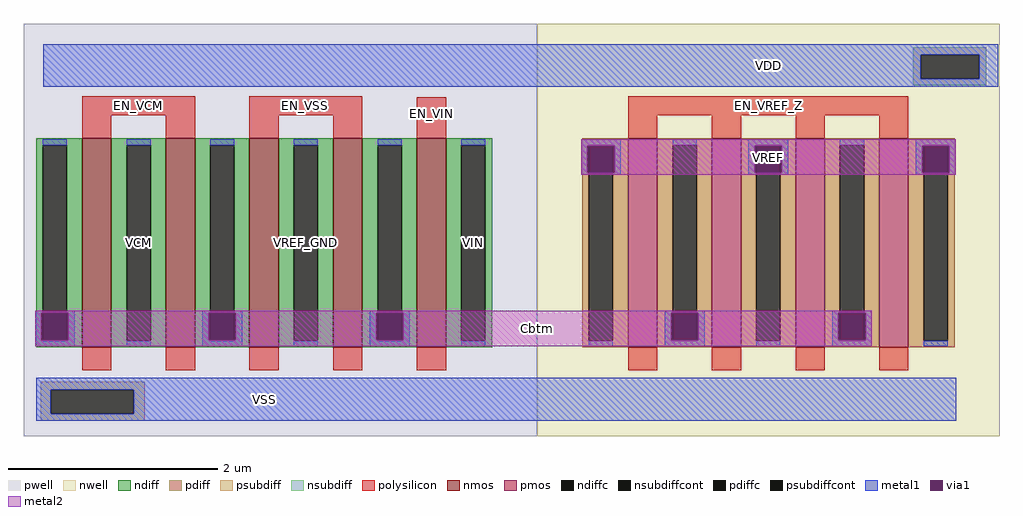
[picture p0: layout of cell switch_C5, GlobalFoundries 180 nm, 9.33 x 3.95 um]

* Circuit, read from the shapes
.subckt switch_C5 VCM VREF_GND VIN VREF EN_VCM EN_VREF_Z Cbtm VDD EN_VSS EN_VIN VSS
XM1 VCM EN_VCM Cbtm VSS nfet_03v3 w=2u l=0.28u m=2
XM2 VREF_GND EN_VSS Cbtm VSS nfet_03v3 w=2u l=0.28u m=2
XM3 VIN EN_VIN Cbtm VSS nfet_03v3 w=2u l=0.28u
XM4 Cbtm EN_VREF_Z VREF VDD pfet_03v3 w=2u l=0.28u m=4
.ends

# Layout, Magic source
magic
tech gf180mcuD
magscale 1 10
<< nwell >>
rect 1290 -346 2174 443
<< pwell >>
rect 308 -346 1290 443
<< nmos >>
rect 420 -176 476 224
rect 580 -176 636 224
rect 740 -176 796 224
rect 900 -176 956 224
rect 1060 -176 1116 224
<< pmos >>
rect 1464 -176 1520 224
rect 1624 -176 1680 224
rect 1784 -176 1840 224
rect 1944 -176 2000 224
<< ndiff >>
rect 332 211 420 224
rect 332 -163 345 211
rect 391 -163 420 211
rect 332 -176 420 -163
rect 476 211 580 224
rect 476 -163 505 211
rect 551 -163 580 211
rect 476 -176 580 -163
rect 636 211 740 224
rect 636 -163 665 211
rect 711 -163 740 211
rect 636 -176 740 -163
rect 796 211 900 224
rect 796 -163 825 211
rect 871 -163 900 211
rect 796 -176 900 -163
rect 956 211 1060 224
rect 956 -163 985 211
rect 1031 -163 1060 211
rect 956 -176 1060 -163
rect 1116 211 1204 224
rect 1116 -163 1145 211
rect 1191 -163 1204 211
rect 1116 -176 1204 -163
<< pdiff >>
rect 1376 211 1464 224
rect 1376 -163 1389 211
rect 1435 -163 1464 211
rect 1376 -176 1464 -163
rect 1520 211 1624 224
rect 1520 -163 1549 211
rect 1595 -163 1624 211
rect 1520 -176 1624 -163
rect 1680 211 1784 224
rect 1680 -163 1709 211
rect 1755 -163 1784 211
rect 1680 -176 1784 -163
rect 1840 211 1944 224
rect 1840 -163 1869 211
rect 1915 -163 1944 211
rect 1840 -176 1944 -163
rect 2000 211 2088 224
rect 2000 -163 2029 211
rect 2075 -163 2088 211
rect 2000 -176 2088 -163
<< ndiffc >>
rect 345 -163 391 211
rect 505 -163 551 211
rect 665 -163 711 211
rect 825 -163 871 211
rect 985 -163 1031 211
rect 1145 -163 1191 211
<< pdiffc >>
rect 1389 -163 1435 211
rect 1549 -163 1595 211
rect 1709 -163 1755 211
rect 1869 -163 1915 211
rect 2029 -163 2075 211
<< psubdiff >>
rect 341 -257 540 -242
rect 341 -303 360 -257
rect 519 -303 540 -257
rect 341 -316 540 -303
<< nsubdiff >>
rect 2009 384 2149 398
rect 2009 338 2023 384
rect 2135 338 2149 384
rect 2009 325 2149 338
<< psubdiffcont >>
rect 360 -303 519 -257
<< nsubdiffcont >>
rect 2023 338 2135 384
<< polysilicon >>
rect 420 268 636 304
rect 420 224 476 268
rect 580 224 636 268
rect 740 268 956 304
rect 740 224 796 268
rect 900 224 956 268
rect 1060 224 1116 302
rect 1464 268 2000 304
rect 1464 224 1520 268
rect 1624 224 1680 268
rect 1784 224 1840 268
rect 1944 224 2000 268
rect 420 -220 476 -176
rect 580 -220 636 -176
rect 740 -220 796 -176
rect 900 -220 956 -176
rect 1060 -220 1116 -176
rect 1464 -220 1520 -176
rect 1624 -220 1680 -176
rect 1784 -220 1840 -176
rect 1944 -220 2000 -176
<< metal1 >>
rect 346 384 2172 404
rect 346 338 2023 384
rect 2135 338 2172 384
rect 346 322 2172 338
rect 345 211 391 222
rect 330 -110 345 -106
rect 505 211 551 222
rect 391 -110 406 -106
rect 330 -162 342 -110
rect 394 -162 406 -110
rect 330 -163 345 -162
rect 391 -163 406 -162
rect 330 -174 406 -163
rect 665 211 711 222
rect 505 -174 551 -163
rect 650 -110 665 -106
rect 825 211 871 222
rect 711 -110 726 -106
rect 650 -162 662 -110
rect 714 -162 726 -110
rect 650 -163 665 -162
rect 711 -163 726 -162
rect 650 -174 726 -163
rect 985 211 1031 222
rect 825 -174 871 -163
rect 970 -110 985 -106
rect 1145 211 1191 222
rect 1031 -110 1046 -106
rect 970 -162 982 -110
rect 1034 -162 1046 -110
rect 970 -163 985 -162
rect 1031 -163 1046 -162
rect 970 -174 1046 -163
rect 1374 211 1450 222
rect 1374 210 1389 211
rect 1435 210 1450 211
rect 1374 158 1386 210
rect 1438 158 1450 210
rect 1374 154 1389 158
rect 1145 -174 1191 -163
rect 1435 154 1450 158
rect 1549 211 1595 222
rect 1389 -174 1435 -163
rect 1534 -110 1549 -106
rect 1694 211 1770 222
rect 1694 210 1709 211
rect 1755 210 1770 211
rect 1694 158 1706 210
rect 1758 158 1770 210
rect 1694 154 1709 158
rect 1595 -110 1610 -106
rect 1534 -162 1546 -110
rect 1598 -162 1610 -110
rect 1534 -163 1549 -162
rect 1595 -163 1610 -162
rect 1534 -174 1610 -163
rect 1755 154 1770 158
rect 1869 211 1915 222
rect 1709 -174 1755 -163
rect 1854 -110 1869 -106
rect 2014 211 2090 222
rect 2014 210 2029 211
rect 2075 210 2090 211
rect 2014 158 2026 210
rect 2078 158 2090 210
rect 2014 154 2029 158
rect 1915 -110 1930 -106
rect 1854 -162 1866 -110
rect 1918 -162 1930 -110
rect 1854 -163 1869 -162
rect 1915 -163 1930 -162
rect 1854 -174 1930 -163
rect 2075 154 2090 158
rect 2029 -174 2075 -163
rect 332 -257 2091 -234
rect 332 -303 360 -257
rect 519 -303 2091 -257
rect 332 -316 2091 -303
<< via1 >>
rect 342 -162 345 -110
rect 345 -162 391 -110
rect 391 -162 394 -110
rect 662 -162 665 -110
rect 665 -162 711 -110
rect 711 -162 714 -110
rect 982 -162 985 -110
rect 985 -162 1031 -110
rect 1031 -162 1034 -110
rect 1386 158 1389 210
rect 1389 158 1435 210
rect 1435 158 1438 210
rect 1706 158 1709 210
rect 1709 158 1755 210
rect 1755 158 1758 210
rect 1546 -162 1549 -110
rect 1549 -162 1595 -110
rect 1595 -162 1598 -110
rect 2026 158 2029 210
rect 2029 158 2075 210
rect 2075 158 2078 210
rect 1866 -162 1869 -110
rect 1869 -162 1915 -110
rect 1915 -162 1918 -110
<< metal2 >>
rect 1374 210 2090 222
rect 1374 158 1386 210
rect 1438 158 1706 210
rect 1758 158 2026 210
rect 2078 158 2090 210
rect 1374 154 2090 158
rect 330 -110 1930 -106
rect 330 -162 342 -110
rect 394 -162 662 -110
rect 714 -162 982 -110
rect 1034 -162 1546 -110
rect 1598 -162 1866 -110
rect 1918 -162 1930 -110
rect 330 -174 1930 -162
<< labels >>
flabel polysilicon 1060 242 1116 302 1 FreeSans 320 0 0 0 EN_VIN
port 10 n
flabel polysilicon 1464 268 2000 304 1 FreeSans 320 0 0 0 EN_VREF_Z
port 6 n
flabel metal2 1034 -174 1546 -106 1 FreeSans 400 0 0 0 Cbtm
port 7 n
flabel metal2 1374 154 2090 222 1 FreeSans 400 0 0 0 VREF
port 4 n
flabel polysilicon 740 268 956 304 1 FreeSans 320 0 0 0 EN_VSS
port 9 n
flabel polysilicon 420 268 636 304 1 FreeSans 320 0 0 0 EN_VCM
port 5 n
flabel metal1 505 -174 551 222 1 FreeSans 320 0 0 0 VCM
port 1 n
flabel metal1 825 -174 871 222 1 FreeSans 320 0 0 0 VREF_GND
port 2 n
flabel metal1 1145 -174 1191 222 1 FreeSans 320 0 0 0 VIN
port 3 n
flabel metal1 1376 322 2088 404 1 FreeSans 400 0 0 0 VDD
port 8 n
flabel metal1 332 -316 1204 -234 1 FreeSans 400 0 0 0 VSS
port 11 n
<< end >>
